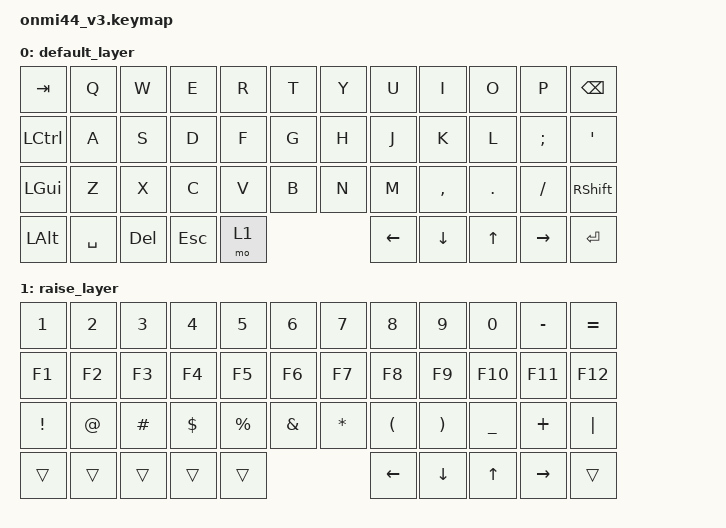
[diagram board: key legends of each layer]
#include <behaviors.dtsi>
#include <dt-bindings/zmk/keys.h>

/ {
    keymap {
        compatible = "zmk,keymap";

        default_layer {
            // Position order matches the matrix transform:
            //   row0: L(6) R(6) | row1: L(6) R(6) | row2: L(6) R(6) |
            //   row3: L(4) L-stick-button | R(4) R-stick-button
            bindings = <
//  L0        L1        L2        L3        L4        L5          R0        R1        R2        R3        R4        R5
&kp TAB    &kp Q     &kp W     &kp E     &kp R     &kp T       &kp Y     &kp U     &kp I     &kp O     &kp P     &kp BSPC
&kp LEFT_CONTROL &kp A &kp S    &kp D     &kp F     &kp G       &kp H     &kp J     &kp K     &kp L     &kp SEMICOLON &kp SINGLE_QUOTE
&kp LEFT_GUI &kp Z   &kp X     &kp C     &kp V     &kp B       &kp N     &kp M     &kp COMMA &kp DOT   &kp FSLH  &kp RIGHT_SHIFT
//  row3 left: mods+space                     L-button         row3 right: arrows                     R-button
&kp LEFT_ALT &kp SPACE &kp DELETE &kp ESC   &mo 1             &kp LEFT_ARROW &kp DOWN_ARROW &kp UP_ARROW &kp RIGHT_ARROW &kp ENTER
            >;
        };

        raise_layer {
            bindings = <
&kp N1      &kp N2     &kp N3     &kp N4     &kp N5     &kp N6      &kp N7      &kp N8      &kp N9      &kp N0      &kp MINUS   &kp EQUAL
&kp F1      &kp F2     &kp F3     &kp F4     &kp F5     &kp F6      &kp F7      &kp F8      &kp F9      &kp F10     &kp F11     &kp F12
&kp EXCL    &kp AT     &kp HASH   &kp DOLLAR &kp PRCNT  &kp AMPERSAND &kp ASTERISK &kp LPAR   &kp RIGHT_PARENTHESIS &kp UNDER &kp PLUS  &kp PIPE
&trans      &trans     &trans     &trans     &trans                 &kp LEFT_ARROW &kp DOWN_ARROW &kp UP_ARROW &kp RIGHT_ARROW &trans
            >;
        };
    };
};
